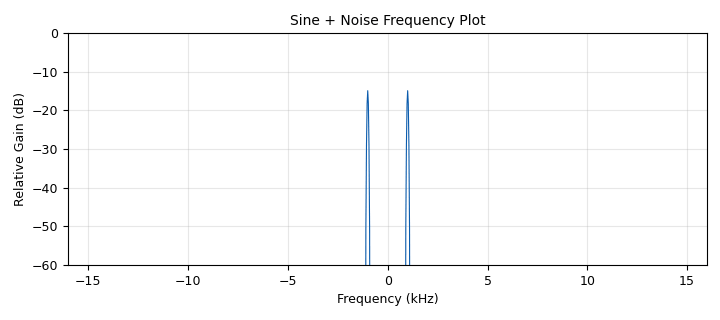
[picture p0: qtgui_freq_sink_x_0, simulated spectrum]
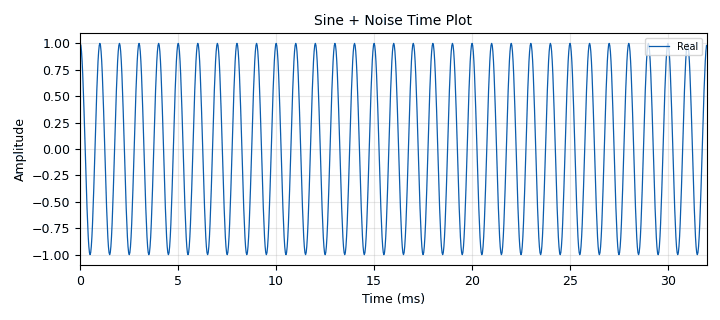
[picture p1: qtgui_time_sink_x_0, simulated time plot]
<?xml version='1.0' encoding='utf-8'?>
<?grc format='1' created='3.7.11'?>
<flow_graph>
<block>
<key>options</key>
<param><key>id</key><value>ex1_1</value></param>
<param><key>generate_options</key><value>qt_gui</value></param>
<param><key>title</key><value>Inital tutorial</value></param>
</block>
<block>
<key>variable</key>
<param><key>id</key><value>noise_amp</value></param>
<param><key>value</key><value>noise_amp_qtgui_range</value></param>
</block>
<block>
<key>variable_qtgui_range</key>
<param><key>id</key><value>noise_amp_qtgui_range</value></param>
<param><key>value</key><value>0</value></param>
<param><key>gui_hint</key><value>2,0,1,1</value></param>
<param><key>label</key><value>Noise amplitude</value></param>
<param><key>orient</key><value>Qt.Horizontal</value></param>
<param><key>start</key><value>0</value></param>
<param><key>step</key><value>0.1</value></param>
<param><key>stop</key><value>5</value></param>
</block>
<block>
<key>variable</key>
<param><key>id</key><value>samp_rate</value></param>
<param><key>value</key><value>32000</value></param>
</block>
<block>
<key>variable</key>
<param><key>id</key><value>sine_freq_hz</value></param>
<param><key>value</key><value>sine_freq_qtgui_range</value></param>
</block>
<block>
<key>variable_qtgui_range</key>
<param><key>id</key><value>sine_freq_qtgui_range</value></param>
<param><key>value</key><value>1000</value></param>
<param><key>gui_hint</key><value>1,0,1,1</value></param>
<param><key>label</key><value>Sine frequency</value></param>
<param><key>orient</key><value>Qt.Horizontal</value></param>
<param><key>start</key><value>0</value></param>
<param><key>step</key><value>100</value></param>
<param><key>stop</key><value>samp_rate/2</value></param>
</block>
<block>
<key>analog_noise_source_x</key>
<param><key>id</key><value>analog_noise_source_x_0</value></param>
<param><key>amp</key><value>noise_amp</value></param>
<param><key>noise_type</key><value>analog.GR_GAUSSIAN</value></param>
<param><key>type</key><value>float</value></param>
<param><key>seed</key><value>0</value></param>
</block>
<block>
<key>blocks_add_xx</key>
<param><key>id</key><value>blocks_add_xx_0</value></param>
<param><key>type</key><value>float</value></param>
</block>
<block>
<key>blocks_throttle</key>
<param><key>id</key><value>blocks_throttle_0</value></param>
<param><key>samples_per_second</key><value>samp_rate</value></param>
<param><key>type</key><value>float</value></param>
</block>
<block>
<key>qtgui_freq_sink_x</key>
<param><key>id</key><value>qtgui_freq_sink_x_0</value></param>
<param><key>bw</key><value>samp_rate</value></param>
<param><key>fc</key><value>0</value></param>
<param><key>fftsize</key><value>1024</value></param>
<param><key>gui_hint</key><value>3,0,1,1</value></param>
<param><key>name</key><value>Sine + Noise Frequency Plot</value></param>
<param><key>showports</key><value>True</value></param>
<param><key>type</key><value>float</value></param>
<param><key>wintype</key><value>firdes.WIN_BLACKMAN_hARRIS</value></param>
<param><key>ymax</key><value>0</value></param>
<param><key>ymin</key><value>-60</value></param>
</block>
<block>
<key>qtgui_time_sink_x</key>
<param><key>id</key><value>qtgui_time_sink_x_0</value></param>
<param><key>autoscale</key><value>True</value></param>
<param><key>gui_hint</key><value>0,0,1,1</value></param>
<param><key>color1</key><value>"blue"</value></param>
<param><key>label1</key><value>Real</value></param>
<param><key>name</key><value>Sine + Noise Time Plot</value></param>
<param><key>size</key><value>1024</value></param>
<param><key>srate</key><value>samp_rate</value></param>
<param><key>type</key><value>float</value></param>
</block>
<block>
<key>analog_sig_source_x</key>
<param><key>id</key><value>sine_wave_generator</value></param>
<param><key>amp</key><value>1</value></param>
<param><key>freq</key><value>sine_freq_hz</value></param>
<param><key>offset</key><value>0</value></param>
<param><key>type</key><value>float</value></param>
<param><key>samp_rate</key><value>samp_rate</value></param>
<param><key>waveform</key><value>analog.GR_COS_WAVE</value></param>
</block>
<connection><source_block_id>analog_noise_source_x_0</source_block_id><sink_block_id>blocks_add_xx_0</sink_block_id><source_key>0</source_key><sink_key>1</sink_key></connection>
<connection><source_block_id>blocks_add_xx_0</source_block_id><sink_block_id>blocks_throttle_0</sink_block_id><source_key>0</source_key><sink_key>0</sink_key></connection>
<connection><source_block_id>blocks_throttle_0</source_block_id><sink_block_id>qtgui_freq_sink_x_0</sink_block_id><source_key>0</source_key><sink_key>0</sink_key></connection>
<connection><source_block_id>blocks_throttle_0</source_block_id><sink_block_id>qtgui_time_sink_x_0</sink_block_id><source_key>0</source_key><sink_key>0</sink_key></connection>
<connection><source_block_id>sine_wave_generator</source_block_id><sink_block_id>blocks_add_xx_0</sink_block_id><source_key>0</source_key><sink_key>0</sink_key></connection>
</flow_graph>
